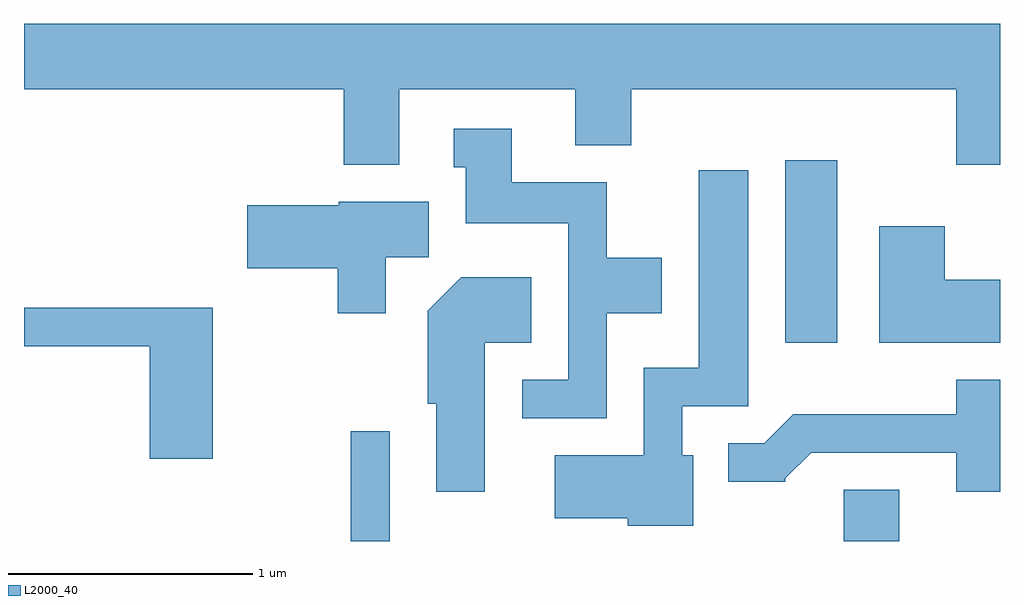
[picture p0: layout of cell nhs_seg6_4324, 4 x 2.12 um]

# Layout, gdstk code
import gdstk
lib = gdstk.Library(unit=1e-6, precision=1e-09)
def R(c, l, rs):  # rectangles x0, y0, x1, y1
    for r in rs: c.add(gdstk.rectangle(r[:2], r[2:], *l))
def P(c, l, *ps):  # polygons
    for p in ps: c.add(gdstk.Polygon(p, *l))
L2000_40 = (2000, 40)

nhs_seg6_4324 = lib.new_cell('nhs_seg6_4324')
R(nhs_seg6_4324, L2000_40, [(318.951,1568.162,319.109,1568.613), (320.971,1568.162,321.199,1568.374), (320.731,1568.976,320.944,1569.724)])
P(nhs_seg6_4324, L2000_40, [(319.149,1570.016),(319.871,1570.016),(319.871,1569.786),(320.099,1569.786),(320.099,1570.016),(321.431,1570.016),(321.431,1569.706),(321.611,1569.706),(321.611,1570.284),(317.611,1570.284),(317.611,1570.016),(318.921,1570.016),(318.921,1569.706),(319.149,1569.706)],
  [(319.999,1569.096),(320.224,1569.096),(320.224,1569.324),(319.999,1569.324),(319.999,1569.634),(319.609,1569.634),(319.609,1569.854),(319.373,1569.854),(319.373,1569.696),(319.421,1569.696),(319.421,1569.466),(319.841,1569.466),(319.841,1568.824),(319.653,1568.824),(319.653,1568.666),(319.999,1568.666)],
  [(320.354,1568.514),(320.309,1568.514),(320.309,1568.716),(320.579,1568.716),(320.579,1569.684),(320.376,1569.684),(320.376,1568.874),(320.151,1568.874),(320.151,1568.514),(319.786,1568.514),(319.786,1568.256),(320.086,1568.256),(320.086,1568.226),(320.354,1568.226)],
  [(319.094,1569.326),(319.269,1569.326),(319.269,1569.554),(318.9,1569.554),(318.9,1569.539),(318.526,1569.539),(318.526,1569.281),(318.896,1569.281),(318.896,1569.096),(319.094,1569.096)],
  [(321.611,1569.234),(321.384,1569.234),(321.384,1569.454),(321.116,1569.454),(321.116,1568.976),(321.611,1568.976)],
  [(319.499,1568.976),(319.689,1568.976),(319.689,1569.244),(319.404,1569.244),(319.266,1569.107),(319.266,1568.726),(319.301,1568.726),(319.301,1568.366),(319.499,1568.366)],
  [(318.384,1569.119),(317.611,1569.119),(317.611,1568.961),(318.126,1568.961),(318.126,1568.501),(318.384,1568.501)],
  [(321.611,1568.824),(321.431,1568.824),(321.431,1568.684),(320.764,1568.684),(320.644,1568.564),(320.498,1568.564),(320.498,1568.406),(320.73,1568.406),(320.73,1568.42),(320.837,1568.526),(321.431,1568.526),(321.431,1568.366),(321.611,1568.366)])

lib.write_gds('nhs_seg6_4324.gds')
